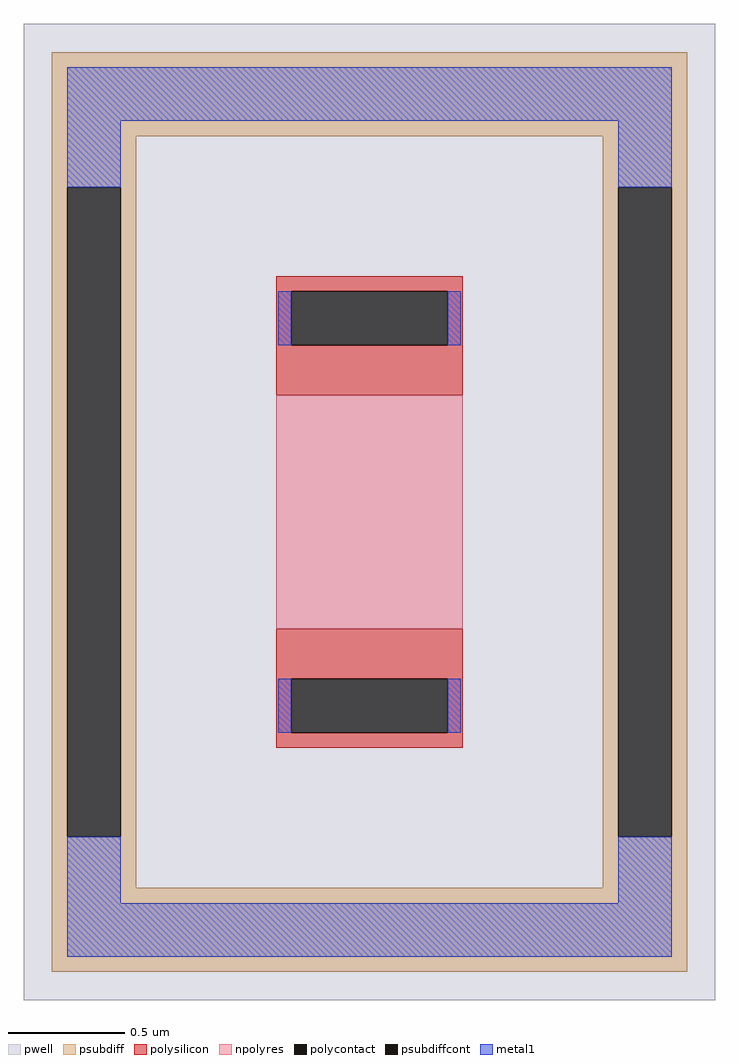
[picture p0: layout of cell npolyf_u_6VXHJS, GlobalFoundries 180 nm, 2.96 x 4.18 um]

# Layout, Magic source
magic
tech gf180mcuD
magscale 1 10
<< pwell >>
rect -296 -418 296 418
<< psubdiff >>
rect -272 322 272 394
rect -272 278 -200 322
rect -272 -278 -259 278
rect -213 -278 -200 278
rect 200 278 272 322
rect -272 -322 -200 -278
rect 200 -278 213 278
rect 259 -278 272 278
rect 200 -322 272 -278
rect -272 -394 272 -322
<< psubdiffcont >>
rect -259 -278 -213 278
rect 213 -278 259 278
<< polysilicon >>
rect -80 189 80 202
rect -80 143 -67 189
rect 67 143 80 189
rect -80 100 80 143
rect -80 -143 80 -100
rect -80 -189 -67 -143
rect 67 -189 80 -143
rect -80 -202 80 -189
<< polycontact >>
rect -67 143 67 189
rect -67 -189 67 -143
<< npolyres >>
rect -80 -100 80 100
<< metal1 >>
rect -259 335 259 381
rect -259 278 -213 335
rect 213 278 259 335
rect -78 143 -67 189
rect 67 143 78 189
rect -78 -189 -67 -143
rect 67 -189 78 -143
rect -259 -335 -213 -278
rect 213 -335 259 -278
rect -259 -381 259 -335
<< properties >>
string FIXED_BBOX -236 -358 236 358
string gencell npolyf_u
string library gf180mcu
string parameters w 0.80 l 1.00 m 1 nx 1 wmin 0.80 lmin 1.00 class resistor rho 300 val 422.535 dummy 0 dw 0.09 term 0.0 sterm 0.0 caplen 0.4 snake 0 glc 1 grc 1 gtc 0 gbc 0 roverlap 0 endcov 100 full_metal 1
<< end >>
